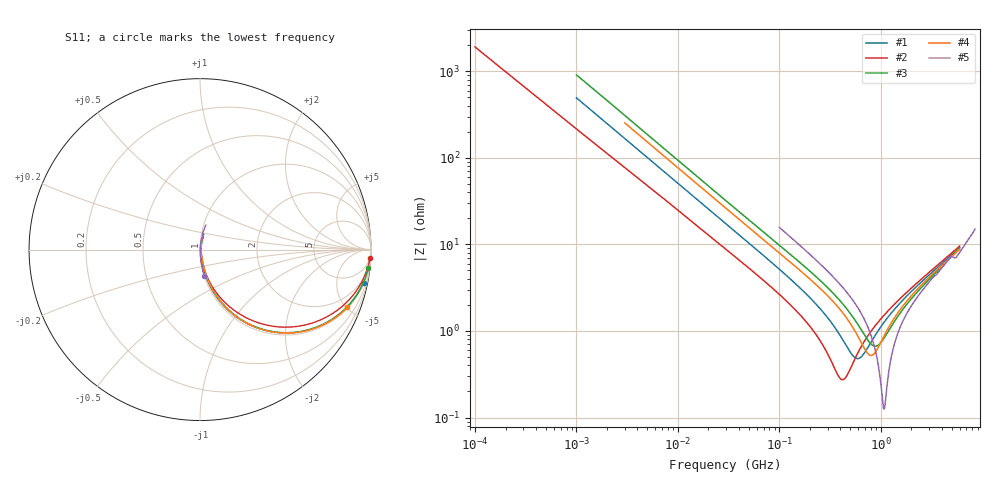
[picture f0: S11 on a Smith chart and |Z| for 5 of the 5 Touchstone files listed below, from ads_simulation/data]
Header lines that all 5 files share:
!These Parameters are Measured in Series Mode Connection
!  o--ll--o
!Port1  Port2
!  o------o
!Operation Temp=25[C], DC Bias Voltage=0[V]
# Hz S RI R 50
!Freq.(Hz)	S 11(Real)	S 11(Imag)	S 21(Real)	S 21(Imag)	S 12(Real)	S 12(Imag)	S 22(Real)	S 22(Imag)
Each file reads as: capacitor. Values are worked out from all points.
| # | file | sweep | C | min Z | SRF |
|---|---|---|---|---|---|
| 1 | GRM022B11A331KA01_series.S2P | 1 MHz to 6 GHz | 321 pF | 480 mohm | 592.9 MHz |
| 2 | GRM022B31A102KE19_series.S2P | 100 kHz to 6 GHz | 823 pF | 274 mohm | 419.4 MHz |
| 3 | GRM022R71A181KA01_series.S2P | 1 MHz to 6 GHz | 174 pF | 666 mohm | 882 MHz |
| 4 | GRM022R71A221KA01_series.S2P | 3 MHz to 6 GHz | 209 pF | 521 mohm | 794.6 MHz |
| 5 | GRM0225C1A101JD05_series.S2P | 100 MHz to 8.5 GHz | 100 pF | 125 mohm | 1.079 GHz |
